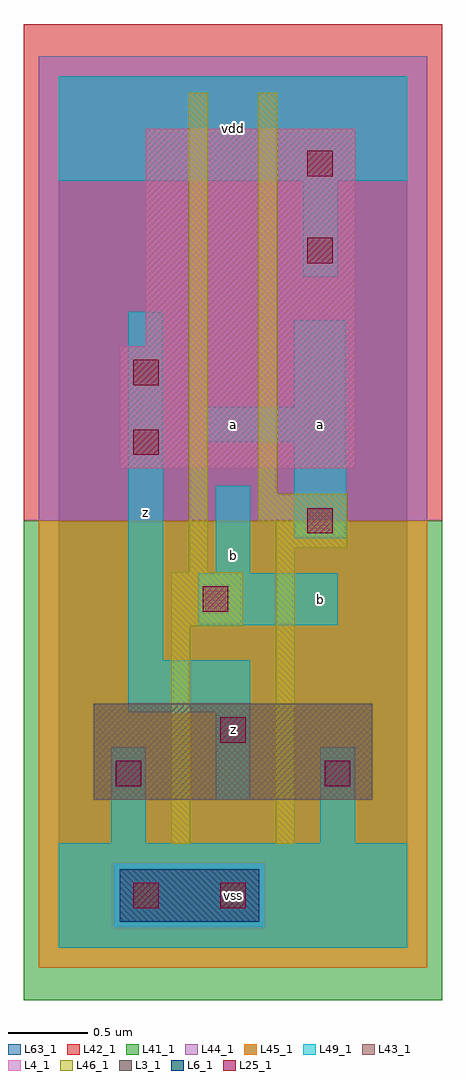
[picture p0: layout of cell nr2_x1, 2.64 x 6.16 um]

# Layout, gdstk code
import gdstk
lib = gdstk.Library(unit=1e-6, precision=1e-09)
def R(c, l, rs):  # rectangles x0, y0, x1, y1
    for r in rs: c.add(gdstk.rectangle(r[:2], r[2:], *l))
L3_1 = (3, 1)
L4_1 = (4, 1)
L6_1 = (6, 1)
L25_1 = (25, 1)
L41_1 = (41, 1)
L42_1 = (42, 1)
L43_1 = (43, 1)
L44_1 = (44, 1)
L45_1 = (45, 1)
L46_1 = (46, 1)
L49_1 = (49, 1)
L63_1 = (63, 1)

nr2_x1 = lib.new_cell('nr2_x1')
R(nr2_x1, L3_1, [(0.22,0.935,1.98,1.54)])
R(nr2_x1, L4_1, [(0.385,3.025,1.87,3.795), (0.55,3.795,1.87,5.17)])
R(nr2_x1, L6_1, [(0.385,0.165,1.265,0.495)])
R(nr2_x1, L25_1, [(0.47,0.25,0.63,0.41), (1.02,0.25,1.18,0.41), (0.36,1.02,0.52,1.18), (1.68,1.02,1.84,1.18), (1.02,1.295,1.18,1.455), (0.91,2.12,1.07,2.28), (1.57,2.615,1.73,2.775), (0.47,3.11,0.63,3.27), (0.47,3.55,0.63,3.71), (1.57,4.32,1.73,4.48), (1.57,4.87,1.73,5.03)])
R(nr2_x1, L41_1, [(-0.22,-0.33,2.42,2.695)])
R(nr2_x1, L42_1, [(-0.22,2.695,2.42,5.83)])
R(nr2_x1, L43_1, [(0.385,0.165,1.265,0.495), (0.22,0.935,1.98,1.54), (0.385,3.025,1.87,3.795), (0.55,3.795,1.87,5.17)])
R(nr2_x1, L44_1, [(0.345,0.125,1.305,0.535), (-0.125,2.695,2.325,5.625)])
R(nr2_x1, L45_1, [(-0.125,-0.125,2.325,0.125), (-0.125,0.125,0.345,0.535), (1.305,0.125,2.325,0.535), (-0.125,0.535,2.325,2.695)])
R(nr2_x1, L46_1, [(0.71,0.655,0.83,2.03), (1.37,0.655,1.49,2.525), (0.71,2.03,1.16,2.37), (0.82,2.37,0.94,5.395), (1.37,2.525,1.82,2.69), (1.26,2.69,1.82,2.865), (1.26,2.865,1.38,5.395)])
R(nr2_x1, L49_1, [(0,0,2.2,0.66), (0.33,0.66,0.55,1.265), (1.65,0.66,1.87,1.265), (0.99,0.935,1.21,1.485), (0.44,1.485,1.21,1.815), (0.44,1.815,0.66,4.015), (0.88,2.035,1.76,2.365), (0.99,2.365,1.21,2.915), (1.485,2.585,1.815,3.19), (0.935,3.19,1.815,3.41), (1.485,3.41,1.815,3.96), (1.54,4.235,1.76,4.84), (0,4.84,2.2,5.5)])
R(nr2_x1, L63_1, [(0,0,2.2,5.5)])
nr2_x1.add(gdstk.Label('z', (0.55,2.75), layer=49, texttype=1))
nr2_x1.add(gdstk.Label('z', (0.55,2.75), layer=49, texttype=1))
nr2_x1.add(gdstk.Label('vss', (1.1,0.33), layer=49, texttype=1))
nr2_x1.add(gdstk.Label('vss', (1.1,0.33), layer=49, texttype=1))
nr2_x1.add(gdstk.Label('z', (1.1,1.375), layer=49, texttype=1))
nr2_x1.add(gdstk.Label('z', (1.1,1.375), layer=49, texttype=1))
nr2_x1.add(gdstk.Label('b', (1.1,2.475), layer=49, texttype=1))
nr2_x1.add(gdstk.Label('b', (1.1,2.475), layer=49, texttype=1))
nr2_x1.add(gdstk.Label('a', (1.1,3.3), layer=49, texttype=1))
nr2_x1.add(gdstk.Label('a', (1.1,3.3), layer=49, texttype=1))
nr2_x1.add(gdstk.Label('vdd', (1.1,5.17), layer=49, texttype=1))
nr2_x1.add(gdstk.Label('vdd', (1.1,5.17), layer=49, texttype=1))
nr2_x1.add(gdstk.Label('b', (1.65,2.2), layer=49, texttype=1))
nr2_x1.add(gdstk.Label('b', (1.65,2.2), layer=49, texttype=1))
nr2_x1.add(gdstk.Label('a', (1.65,3.3), layer=49, texttype=1))
nr2_x1.add(gdstk.Label('a', (1.65,3.3), layer=49, texttype=1))

lib.write_gds('nr2_x1.gds')
